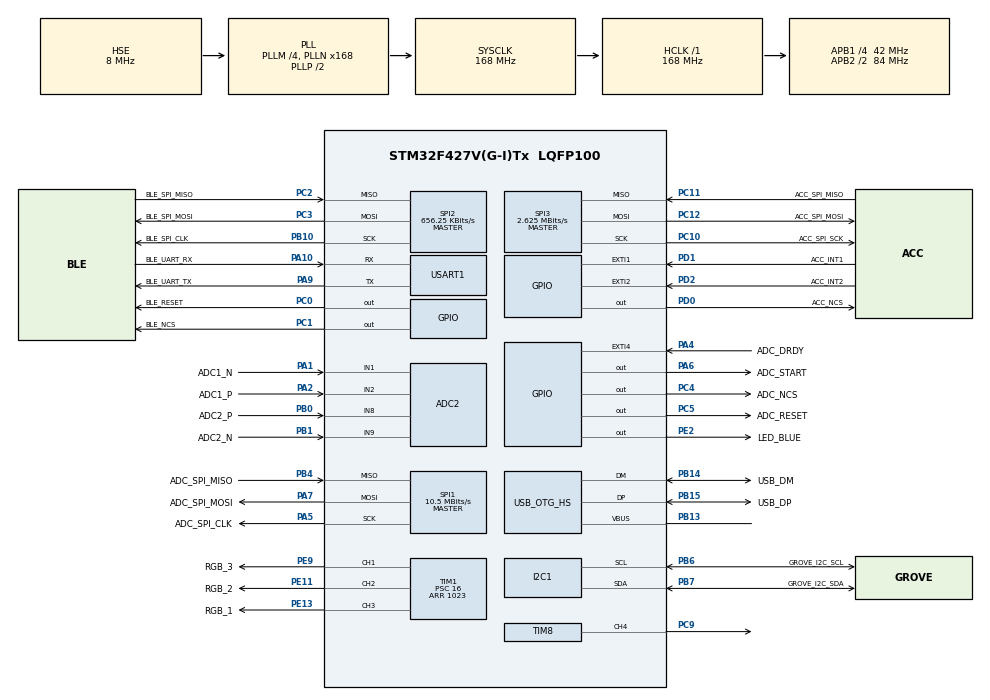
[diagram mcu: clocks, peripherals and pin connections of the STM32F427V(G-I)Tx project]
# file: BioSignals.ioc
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ADC2.Channel-30\#ChannelRegularConversion=ADC_CHANNEL_8
ADC2.NbrOfConversionFlag=1
ADC2.Rank-30\#ChannelRegularConversion=1
ADC2.SamplingTime-30\#ChannelRegularConversion=ADC_SAMPLETIME_3CYCLES
Dma.Request0=SPI1_RX
Dma.Request1=SPI1_TX
Dma.Request2=SPI3_RX
Dma.Request3=SPI3_TX
Dma.Request4=SPI2_TX
Dma.Request5=SPI2_RX
Dma.SPI1_RX.0.Direction=DMA_PERIPH_TO_MEMORY
Dma.SPI1_RX.0.FIFOMode=DMA_FIFOMODE_DISABLE
Dma.SPI1_RX.0.Instance=DMA2_Stream0
Dma.SPI1_RX.0.MemDataAlignment=DMA_MDATAALIGN_BYTE
Dma.SPI1_RX.0.MemInc=DMA_MINC_ENABLE
Dma.SPI1_RX.0.Mode=DMA_NORMAL
Dma.SPI1_RX.0.PeriphDataAlignment=DMA_PDATAALIGN_BYTE
Dma.SPI1_RX.0.PeriphInc=DMA_PINC_DISABLE
Dma.SPI1_RX.0.Priority=DMA_PRIORITY_LOW
Dma.SPI1_TX.1.Direction=DMA_MEMORY_TO_PERIPH
Dma.SPI1_TX.1.FIFOMode=DMA_FIFOMODE_DISABLE
Dma.SPI1_TX.1.Instance=DMA2_Stream3
Dma.SPI1_TX.1.MemDataAlignment=DMA_MDATAALIGN_BYTE
Dma.SPI1_TX.1.MemInc=DMA_MINC_ENABLE
Dma.SPI1_TX.1.Mode=DMA_NORMAL
Dma.SPI1_TX.1.PeriphDataAlignment=DMA_PDATAALIGN_BYTE
Dma.SPI1_TX.1.PeriphInc=DMA_PINC_DISABLE
Dma.SPI1_TX.1.Priority=DMA_PRIORITY_LOW
Dma.SPI2_RX.5.Direction=DMA_PERIPH_TO_MEMORY
Dma.SPI2_RX.5.FIFOMode=DMA_FIFOMODE_DISABLE
Dma.SPI2_RX.5.Instance=DMA1_Stream3
Dma.SPI2_RX.5.MemDataAlignment=DMA_MDATAALIGN_BYTE
Dma.SPI2_RX.5.MemInc=DMA_MINC_ENABLE
Dma.SPI2_RX.5.Mode=DMA_NORMAL
Dma.SPI2_RX.5.PeriphDataAlignment=DMA_PDATAALIGN_BYTE
Dma.SPI2_RX.5.PeriphInc=DMA_PINC_DISABLE
Dma.SPI2_RX.5.Priority=DMA_PRIORITY_LOW
Dma.SPI2_TX.4.Direction=DMA_MEMORY_TO_PERIPH
Dma.SPI2_TX.4.FIFOMode=DMA_FIFOMODE_DISABLE
Dma.SPI2_TX.4.Instance=DMA1_Stream4
Dma.SPI2_TX.4.MemDataAlignment=DMA_MDATAALIGN_BYTE
Dma.SPI2_TX.4.MemInc=DMA_MINC_ENABLE
Dma.SPI2_TX.4.Mode=DMA_NORMAL
Dma.SPI2_TX.4.PeriphDataAlignment=DMA_PDATAALIGN_BYTE
Dma.SPI2_TX.4.PeriphInc=DMA_PINC_DISABLE
Dma.SPI2_TX.4.Priority=DMA_PRIORITY_LOW
Dma.SPI3_RX.2.Direction=DMA_PERIPH_TO_MEMORY
Dma.SPI3_RX.2.FIFOMode=DMA_FIFOMODE_DISABLE
Dma.SPI3_RX.2.Instance=DMA1_Stream0
Dma.SPI3_RX.2.MemDataAlignment=DMA_MDATAALIGN_BYTE
Dma.SPI3_RX.2.MemInc=DMA_MINC_ENABLE
Dma.SPI3_RX.2.Mode=DMA_NORMAL
Dma.SPI3_RX.2.PeriphDataAlignment=DMA_PDATAALIGN_BYTE
Dma.SPI3_RX.2.PeriphInc=DMA_PINC_DISABLE
Dma.SPI3_RX.2.Priority=DMA_PRIORITY_LOW
Dma.SPI3_TX.3.Direction=DMA_MEMORY_TO_PERIPH
Dma.SPI3_TX.3.FIFOMode=DMA_FIFOMODE_DISABLE
Dma.SPI3_TX.3.Instance=DMA1_Stream5
Dma.SPI3_TX.3.MemDataAlignment=DMA_MDATAALIGN_BYTE
Dma.SPI3_TX.3.MemInc=DMA_MINC_ENABLE
Dma.SPI3_TX.3.Mode=DMA_NORMAL
Dma.SPI3_TX.3.PeriphDataAlignment=DMA_PDATAALIGN_BYTE
Dma.SPI3_TX.3.PeriphInc=DMA_PINC_DISABLE
Dma.SPI3_TX.3.Priority=DMA_PRIORITY_LOW
FREERTOS.INCLUDE_vTaskDelayUntil=1
FREERTOS.MEMORY_ALLOCATION=2
FREERTOS.Tasks01=defaultTask,0,128,StartDefaultTask,Default,NULL
FREERTOS.configTOTAL_HEAP_SIZE=4096
FREERTOS.configUSE_IDLE_HOOK=0
FREERTOS.configUSE_MALLOC_FAILED_HOOK=1
FREERTOS.configUSE_PREEMPTION=0
FREERTOS.configUSE_TICK_HOOK=0
Mcu.Family=STM32F4
Mcu.Name=STM32F427V(G-I)Tx
Mcu.Package=LQFP100
NVIC.DMA1_Stream0_IRQn=true\:5\:0\:false\:false\:true\:true\:false\:true\:true
NVIC.DMA1_Stream3_IRQn=true\:5\:0\:false\:false\:true\:true\:false\:true\:true
NVIC.DMA1_Stream4_IRQn=true\:5\:0\:false\:false\:true\:true\:false\:true\:true
NVIC.DMA1_Stream5_IRQn=true\:5\:0\:false\:false\:true\:true\:false\:true\:true
NVIC.DMA2_Stream0_IRQn=true\:5\:0\:false\:false\:true\:true\:false\:true\:true
NVIC.DMA2_Stream3_IRQn=true\:5\:0\:false\:false\:true\:true\:false\:true\:true
NVIC.EXTI1_IRQn=true\:6\:0\:true\:false\:true\:true\:true\:true\:true
NVIC.EXTI4_IRQn=true\:6\:0\:true\:false\:true\:true\:true\:true\:true
NVIC.OTG_HS_IRQn=true\:5\:0\:false\:false\:true\:true\:true\:true\:true
NVIC.PriorityGroup=NVIC_PRIORITYGROUP_4
NVIC.SPI1_IRQn=true\:5\:0\:false\:false\:true\:true\:true\:true\:true
NVIC.SPI3_IRQn=true\:5\:0\:false\:false\:true\:true\:true\:true\:true
NVIC.TIM8_UP_TIM13_IRQn=true\:5\:0\:true\:false\:true\:true\:true\:true\:true
PA1.GPIO_Label=ADC1_N
PA1.Signal=ADCx_IN1
PA10.GPIO_Label=BLE_UART_RX
PA10.Mode=Multiprocessor_communication
PA10.Signal=USART1_RX
PA13.GPIO_Label=SWDIO
PA13.Mode=Trace_Asynchronous_SW
PA13.Signal=SYS_JTMS-SWDIO
PA14.GPIO_Label=SWDCLK
PA14.Mode=Trace_Asynchronous_SW
PA14.Signal=SYS_JTCK-SWCLK
PA2.GPIO_Label=ADC1_P
PA2.Signal=ADCx_IN2
PA4.GPIO_Label=ADC_DRDY
PA4.GPIO_ModeDefaultEXTI=GPIO_MODE_IT_FALLING
PA4.Signal=GPXTI4
PA5.GPIO_Label=ADC_SPI_CLK
PA5.Mode=Full_Duplex_Master
PA5.Signal=SPI1_SCK
PA6.GPIO_Label=ADC_START
PA6.Signal=GPIO_Output
PA7.GPIO_Label=ADC_SPI_MOSI
PA7.Mode=Full_Duplex_Master
PA7.Signal=SPI1_MOSI
PA9.GPIO_Label=BLE_UART_TX
PA9.Mode=Multiprocessor_communication
PA9.Signal=USART1_TX
PB0.GPIO_Label=ADC2_P
PB0.Signal=ADCx_IN8
PB1.GPIO_Label=ADC2_N
PB1.Signal=ADCx_IN9
PB10.GPIO_Label=BLE_SPI_CLK
PB10.Mode=Full_Duplex_Master
PB10.Signal=SPI2_SCK
PB13.Mode=Activate_VBUS_FS
PB13.Signal=USB_OTG_HS_VBUS
PB14.GPIO_Label=USB_DM
PB14.Mode=Device_Only_FS
PB14.Signal=USB_OTG_HS_DM
PB15.GPIO_Label=USB_DP
PB15.Mode=Device_Only_FS
PB15.Signal=USB_OTG_HS_DP
PB3.Mode=Trace_Asynchronous_SW
PB3.Signal=SYS_JTDO-SWO
PB4.GPIO_Label=ADC_SPI_MISO
PB4.Mode=Full_Duplex_Master
PB4.Signal=SPI1_MISO
PB6.GPIO_Label=GROVE_I2C_SCL
PB6.GPIO_Pu=GPIO_PULLUP
PB6.Mode=I2C
PB6.Signal=I2C1_SCL
PB7.GPIO_Label=GROVE_I2C_SDA
PB7.GPIO_Pu=GPIO_PULLUP
PB7.Mode=I2C
PB7.Signal=I2C1_SDA
PC0.GPIO_Label=BLE_RESET
PC0.Signal=GPIO_Output
PC1.GPIO_Label=BLE_NCS
PC1.Signal=GPIO_Output
PC10.GPIO_Label=ACC_SPI_SCK
PC10.Mode=Full_Duplex_Master
PC10.Signal=SPI3_SCK
PC11.GPIO_Label=ACC_SPI_MISO
PC11.Mode=Full_Duplex_Master
PC11.Signal=SPI3_MISO
PC12.GPIO_Label=ACC_SPI_MOSI
PC12.Mode=Full_Duplex_Master
PC12.Signal=SPI3_MOSI
PC2.GPIO_Label=BLE_SPI_MISO
PC2.Mode=Full_Duplex_Master
PC2.Signal=SPI2_MISO
PC3.GPIO_Label=BLE_SPI_MOSI
PC3.Mode=Full_Duplex_Master
PC3.Signal=SPI2_MOSI
PC4.GPIO_Label=ADC_NCS
PC4.Signal=GPIO_Output
PC5.GPIO_Label=ADC_RESET
PC5.Signal=GPIO_Output
PC9.Signal=S_TIM8_CH4
PD0.GPIO_Label=ACC_NCS
PD0.Signal=GPIO_Output
PD1.GPIO_Label=ACC_INT1
PD1.Signal=GPXTI1
PD2.GPIO_Label=ACC_INT2
PD2.Signal=GPXTI2
PE11.GPIO_Label=RGB_2
PE11.Signal=S_TIM1_CH2
PE13.GPIO_Label=RGB_1
PE13.Signal=S_TIM1_CH3
PE2.GPIO_Label=LED_BLUE
PE2.Signal=GPIO_Output
PE9.GPIO_Label=RGB_3
PE9.Signal=S_TIM1_CH1
PH0/OSC_IN.Mode=HSE-External-Oscillator
PH0/OSC_IN.Signal=RCC_OSC_IN
PH1/OSC_OUT.Mode=HSE-External-Oscillator
PH1/OSC_OUT.Signal=RCC_OSC_OUT
ProjectManager.HeapSize=0x200
ProjectManager.StackSize=0x400
ProjectManager.TargetToolchain=Other Toolchains (GPDSC)
RCC.48MHZClocksFreq_Value=48000000
RCC.AHBFreq_Value=168000000
RCC.APB1CLKDivider=RCC_HCLK_DIV4
RCC.APB1Freq_Value=42000000
RCC.APB1TimFreq_Value=84000000
RCC.APB2CLKDivider=RCC_HCLK_DIV2
RCC.APB2Freq_Value=84000000
RCC.APB2TimFreq_Value=168000000
RCC.CortexFreq_Value=168000000
RCC.HCLKFreq_Value=168000000
RCC.HSE_VALUE=8000000
RCC.HSI_VALUE=16000000
RCC.LSE_VALUE=32768
RCC.PLLM=4
RCC.PLLN=168
RCC.PLLQ=7
RCC.PLLSAIN=60
RCC.PLLSAIQ=2
RCC.SYSCLKFreq_VALUE=168000000
RCC.SYSCLKSource=RCC_SYSCLKSOURCE_PLLCLK
RCC.VCOOutputFreq_Value=336000000
SH.ADCx_IN1.0=ADC2_IN1,IN1
SH.ADCx_IN2.0=ADC2_IN2,IN2
SH.ADCx_IN8.0=ADC2_IN8,IN8
SH.ADCx_IN9.0=ADC2_IN9,IN9
SH.S_TIM1_CH1.0=TIM1_CH1,PWM Generation1 CH1
SH.S_TIM1_CH2.0=TIM1_CH2,PWM Generation2 CH2
SH.S_TIM1_CH3.0=TIM1_CH3,PWM Generation3 CH3
SH.S_TIM8_CH4.0=TIM8_CH4,PWM Generation4 CH4
SPI1.BaudRatePrescaler=SPI_BAUDRATEPRESCALER_8
SPI1.CLKPhase=SPI_PHASE_2EDGE
SPI1.CLKPolarity=SPI_POLARITY_LOW
SPI1.CalculateBaudRate=10.5 MBits/s
SPI1.Direction=SPI_DIRECTION_2LINES
SPI1.Mode=SPI_MODE_MASTER
SPI1.VirtualType=VM_MASTER
SPI2.BaudRatePrescaler=SPI_BAUDRATEPRESCALER_64
SPI2.CLKPhase=SPI_PHASE_2EDGE
SPI2.CalculateBaudRate=656.25 KBits/s
SPI2.Direction=SPI_DIRECTION_2LINES
SPI2.Mode=SPI_MODE_MASTER
SPI2.VirtualType=VM_MASTER
SPI3.BaudRatePrescaler=SPI_BAUDRATEPRESCALER_16
SPI3.CLKPhase=SPI_PHASE_2EDGE
SPI3.CLKPolarity=SPI_POLARITY_HIGH
SPI3.CalculateBaudRate=2.625 MBits/s
SPI3.Direction=SPI_DIRECTION_2LINES
SPI3.Mode=SPI_MODE_MASTER
SPI3.VirtualType=VM_MASTER
TIM1.Channel-PWM\ Generation1\ CH1=TIM_CHANNEL_1
TIM1.Channel-PWM\ Generation2\ CH2=TIM_CHANNEL_2
TIM1.Channel-PWM\ Generation3\ CH3=TIM_CHANNEL_3
TIM1.Period=1023
TIM1.Prescaler=16
TIM8.Channel-PWM\ Generation4\ CH4=TIM_CHANNEL_4
TIM8.Period=TIM8_PERIOD
TIM8.Prescaler=3
TIM8.Pulse-PWM\ Generation4\ CH4=TIM8_PERIOD/2
TIM8.TIM_MasterOutputTrigger=TIM_TRGO_UPDATE
USART1.VirtualMode=VM_ASYNC
USB_OTG_HS.VirtualMode-Device_Only_FS=Device_Only_FS
VP_FREERTOS_VS_CMSIS_V1.Mode=CMSIS_V1
VP_RTC_VS_RTC_Activate.Mode=RTC_Enabled
board=custom

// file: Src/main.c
/* USER CODE BEGIN Header */
/**
  ******************************************************************************
  * @file           : main.c
  * @brief          : Main program body
  ******************************************************************************
  ** This notice applies to any and all portions of this file
  * that are not between comment pairs USER CODE BEGIN and
  * USER CODE END. Other portions of this file, whether
  * inserted by the user or by software development tools
  * are owned by their respective copyright owners.
  *
  * COPYRIGHT(c) 2018 STMicroelectronics
  *
  * Redistribution and use in source and binary forms, with or without modification,
  * are permitted provided that the following conditions are met:
  *   1. Redistributions of source code must retain the above copyright notice,
  *      this list of conditions and the following disclaimer.
  *   2. Redistributions in binary form must reproduce the above copyright notice,
  *      this list of conditions and the following disclaimer in the documentation
  *      and/or other materials provided with the distribution.
  *   3. Neither the name of STMicroelectronics nor the names of its contributors
  *      may be used to endorse or promote products derived from this software
  *      without specific prior written permission.
  *
  * THIS SOFTWARE IS PROVIDED BY THE COPYRIGHT HOLDERS AND CONTRIBUTORS "AS IS"
  * AND ANY EXPRESS OR IMPLIED WARRANTIES, INCLUDING, BUT NOT LIMITED TO, THE
  * IMPLIED WARRANTIES OF MERCHANTABILITY AND FITNESS FOR A PARTICULAR PURPOSE ARE
  * DISCLAIMED. IN NO EVENT SHALL THE COPYRIGHT HOLDER OR CONTRIBUTORS BE LIABLE
  * FOR ANY DIRECT, INDIRECT, INCIDENTAL, SPECIAL, EXEMPLARY, OR CONSEQUENTIAL
  * DAMAGES (INCLUDING, BUT NOT LIMITED TO, PROCUREMENT OF SUBSTITUTE GOODS OR
  * SERVICES; LOSS OF USE, DATA, OR PROFITS; OR BUSINESS INTERRUPTION) HOWEVER
  * CAUSED AND ON ANY THEORY OF LIABILITY, WHETHER IN CONTRACT, STRICT LIABILITY,
  * OR TORT (INCLUDING NEGLIGENCE OR OTHERWISE) ARISING IN ANY WAY OUT OF THE USE
  * OF THIS SOFTWARE, EVEN IF ADVISED OF THE POSSIBILITY OF SUCH DAMAGE.
  *
  ******************************************************************************
  */
/* USER CODE END Header */
#include "main.h"
#include "cmsis_os.h"

/* USER CODE BEGIN Includes */
#ifdef DEBUG
#include <stdio.h>
#endif

/* USER CODE END Includes */

 ADC_HandleTypeDef hadc2;

I2C_HandleTypeDef hi2c1;

RTC_HandleTypeDef hrtc;

SPI_HandleTypeDef hspi1;
SPI_HandleTypeDef hspi2;
SPI_HandleTypeDef hspi3;
DMA_HandleTypeDef hdma_spi1_rx;
DMA_HandleTypeDef hdma_spi1_tx;
DMA_HandleTypeDef hdma_spi2_tx;
DMA_HandleTypeDef hdma_spi2_rx;
DMA_HandleTypeDef hdma_spi3_rx;
DMA_HandleTypeDef hdma_spi3_tx;

TIM_HandleTypeDef htim1;
TIM_HandleTypeDef htim8;

UART_HandleTypeDef huart1;

PCD_HandleTypeDef hpcd_USB_OTG_HS;

osThreadId defaultTaskHandle;
/* USER CODE BEGIN PV */
/* Private variables ---------------------------------------------------------*/

/* USER CODE END PV */

void SystemClock_Config(void);
static void MX_GPIO_Init(void);
static void MX_DMA_Init(void);
static void MX_ADC2_Init(void);
static void MX_I2C1_Init(void);
static void MX_SPI1_Init(void);
static void MX_SPI2_Init(void);
static void MX_SPI3_Init(void);
static void MX_TIM1_Init(void);
static void MX_USART1_UART_Init(void);
static void MX_TIM8_Init(void);
static void MX_RTC_Init(void);
static void MX_USB_OTG_HS_PCD_Init(void);
void StartDefaultTask(void const * argument);

/* USER CODE BEGIN PFP */
/* Private function prototypes -----------------------------------------------*/

void setup();
void loop(void);
void initialise_monitor_handles(void);

/* USER CODE END PFP */

int main(void)
{
  /* USER CODE BEGIN 1 */
#ifdef DEBUG
#warning "DEBUG uses printf and semihosting!"
  if(CoreDebug->DHCSR & 0x01)
    initialise_monitor_handles(); // remove when not semi-hosting
  printf("showtime\n");
#endif
  /* USER CODE END 1 */

  /* MCU Configuration--------------------------------------------------------*/

  /* Reset of all peripherals, Initializes the Flash interface and the Systick. */
  HAL_Init();

  /* Configure the system clock */
  SystemClock_Config();

  /* Initialize all configured peripherals */
  MX_GPIO_Init();
  MX_DMA_Init();
  MX_ADC2_Init();
  MX_I2C1_Init();
  MX_SPI1_Init();
  MX_SPI2_Init();
  MX_SPI3_Init();
  MX_TIM1_Init();
  MX_USART1_UART_Init();
  MX_TIM8_Init();
  MX_RTC_Init();
  MX_USB_OTG_HS_PCD_Init();

  /* Create the thread(s) */
  /* definition and creation of defaultTask */
  osThreadDef(defaultTask, StartDefaultTask, osPriorityNormal, 0, 128);
  defaultTaskHandle = osThreadCreate(osThread(defaultTask), NULL);

  /* Start scheduler */
  osKernelStart();

  /* We should never get here as control is now taken by the scheduler */
  /* Infinite loop */
  while (1)
  {

  }
}

void SystemClock_Config(void)
{
  RCC_OscInitTypeDef RCC_OscInitStruct = {0};
  RCC_ClkInitTypeDef RCC_ClkInitStruct = {0};

  /** Configure the main internal regulator output voltage
  */
  __HAL_RCC_PWR_CLK_ENABLE();
  __HAL_PWR_VOLTAGESCALING_CONFIG(PWR_REGULATOR_VOLTAGE_SCALE1);

  /** Initializes the RCC Oscillators according to the specified parameters
  * in the RCC_OscInitTypeDef structure.
  */
  RCC_OscInitStruct.OscillatorType = RCC_OSCILLATORTYPE_LSI|RCC_OSCILLATORTYPE_HSE;
  RCC_OscInitStruct.HSEState = RCC_HSE_ON;
  RCC_OscInitStruct.LSIState = RCC_LSI_ON;
  RCC_OscInitStruct.PLL.PLLState = RCC_PLL_ON;
  RCC_OscInitStruct.PLL.PLLSource = RCC_PLLSOURCE_HSE;
  RCC_OscInitStruct.PLL.PLLM = 4;
  RCC_OscInitStruct.PLL.PLLN = 168;
  RCC_OscInitStruct.PLL.PLLP = RCC_PLLP_DIV2;
  RCC_OscInitStruct.PLL.PLLQ = 7;
  if (HAL_RCC_OscConfig(&RCC_OscInitStruct) != HAL_OK)
  {
    Error_Handler();
  }

  /** Initializes the CPU, AHB and APB buses clocks
  */
  RCC_ClkInitStruct.ClockType = RCC_CLOCKTYPE_HCLK|RCC_CLOCKTYPE_SYSCLK
                              |RCC_CLOCKTYPE_PCLK1|RCC_CLOCKTYPE_PCLK2;
  RCC_ClkInitStruct.SYSCLKSource = RCC_SYSCLKSOURCE_PLLCLK;
  RCC_ClkInitStruct.AHBCLKDivider = RCC_SYSCLK_DIV1;
  RCC_ClkInitStruct.APB1CLKDivider = RCC_HCLK_DIV4;
  RCC_ClkInitStruct.APB2CLKDivider = RCC_HCLK_DIV2;

  if (HAL_RCC_ClockConfig(&RCC_ClkInitStruct, FLASH_LATENCY_5) != HAL_OK)
  {
    Error_Handler();
  }
}

static void MX_ADC2_Init(void)
{

  ADC_ChannelConfTypeDef sConfig = {0};

  /** Configure the global features of the ADC (Clock, Resolution, Data Alignment and number of conversion)
  */
  hadc2.Instance = ADC2;
  hadc2.Init.ClockPrescaler = ADC_CLOCK_SYNC_PCLK_DIV4;
  hadc2.Init.Resolution = ADC_RESOLUTION_12B;
  hadc2.Init.ScanConvMode = DISABLE;
  hadc2.Init.ContinuousConvMode = DISABLE;
  hadc2.Init.DiscontinuousConvMode = DISABLE;
  hadc2.Init.ExternalTrigConvEdge = ADC_EXTERNALTRIGCONVEDGE_NONE;
  hadc2.Init.ExternalTrigConv = ADC_SOFTWARE_START;
  hadc2.Init.DataAlign = ADC_DATAALIGN_RIGHT;
  hadc2.Init.NbrOfConversion = 1;
  hadc2.Init.DMAContinuousRequests = DISABLE;
  hadc2.Init.EOCSelection = ADC_EOC_SINGLE_CONV;
  if (HAL_ADC_Init(&hadc2) != HAL_OK)
  {
    Error_Handler();
  }

  /** Configure for the selected ADC regular channel its corresponding rank in the sequencer and its sample time.
  */
  sConfig.Channel = ADC_CHANNEL_8;
  sConfig.Rank = 1;
  sConfig.SamplingTime = ADC_SAMPLETIME_3CYCLES;
  if (HAL_ADC_ConfigChannel(&hadc2, &sConfig) != HAL_OK)
  {
    Error_Handler();
  }

}

static void MX_I2C1_Init(void)
{

  hi2c1.Instance = I2C1;
  hi2c1.Init.ClockSpeed = 100000;
  hi2c1.Init.DutyCycle = I2C_DUTYCYCLE_2;
  hi2c1.Init.OwnAddress1 = 0;
  hi2c1.Init.AddressingMode = I2C_ADDRESSINGMODE_7BIT;
  hi2c1.Init.DualAddressMode = I2C_DUALADDRESS_DISABLE;
  hi2c1.Init.OwnAddress2 = 0;
  hi2c1.Init.GeneralCallMode = I2C_GENERALCALL_DISABLE;
  hi2c1.Init.NoStretchMode = I2C_NOSTRETCH_DISABLE;
  if (HAL_I2C_Init(&hi2c1) != HAL_OK)
  {
    Error_Handler();
  }

  /** Configure Analogue filter
  */
  if (HAL_I2CEx_ConfigAnalogFilter(&hi2c1, I2C_ANALOGFILTER_ENABLE) != HAL_OK)
  {
    Error_Handler();
  }

  /** Configure Digital filter
  */
  if (HAL_I2CEx_ConfigDigitalFilter(&hi2c1, 0) != HAL_OK)
  {
    Error_Handler();
  }

}

static void MX_RTC_Init(void)
{

  /** Initialize RTC Only
  */
  hrtc.Instance = RTC;
  hrtc.Init.HourFormat = RTC_HOURFORMAT_24;
  hrtc.Init.AsynchPrediv = 127;
  hrtc.Init.SynchPrediv = 255;
  hrtc.Init.OutPut = RTC_OUTPUT_DISABLE;
  hrtc.Init.OutPutPolarity = RTC_OUTPUT_POLARITY_HIGH;
  hrtc.Init.OutPutType = RTC_OUTPUT_TYPE_OPENDRAIN;
  if (HAL_RTC_Init(&hrtc) != HAL_OK)
  {
    Error_Handler();
  }

}

static void MX_SPI1_Init(void)
{

  /* SPI1 parameter configuration*/
  hspi1.Instance = SPI1;
  hspi1.Init.Mode = SPI_MODE_MASTER;
  hspi1.Init.Direction = SPI_DIRECTION_2LINES;
  hspi1.Init.DataSize = SPI_DATASIZE_8BIT;
  hspi1.Init.CLKPolarity = SPI_POLARITY_LOW;
  hspi1.Init.CLKPhase = SPI_PHASE_2EDGE;
  hspi1.Init.NSS = SPI_NSS_SOFT;
  hspi1.Init.BaudRatePrescaler = SPI_BAUDRATEPRESCALER_8;
  hspi1.Init.FirstBit = SPI_FIRSTBIT_MSB;
  hspi1.Init.TIMode = SPI_TIMODE_DISABLE;
  hspi1.Init.CRCCalculation = SPI_CRCCALCULATION_DISABLE;
  hspi1.Init.CRCPolynomial = 10;
  if (HAL_SPI_Init(&hspi1) != HAL_OK)
  {
    Error_Handler();
  }

}

static void MX_SPI2_Init(void)
{

  /* SPI2 parameter configuration*/
  hspi2.Instance = SPI2;
  hspi2.Init.Mode = SPI_MODE_MASTER;
  hspi2.Init.Direction = SPI_DIRECTION_2LINES;
  hspi2.Init.DataSize = SPI_DATASIZE_8BIT;
  hspi2.Init.CLKPolarity = SPI_POLARITY_LOW;
  hspi2.Init.CLKPhase = SPI_PHASE_2EDGE;
  hspi2.Init.NSS = SPI_NSS_SOFT;
  hspi2.Init.BaudRatePrescaler = SPI_BAUDRATEPRESCALER_64;
  hspi2.Init.FirstBit = SPI_FIRSTBIT_MSB;
  hspi2.Init.TIMode = SPI_TIMODE_DISABLE;
  hspi2.Init.CRCCalculation = SPI_CRCCALCULATION_DISABLE;
  hspi2.Init.CRCPolynomial = 10;
  if (HAL_SPI_Init(&hspi2) != HAL_OK)
  {
    Error_Handler();
  }

}

static void MX_SPI3_Init(void)
{

  /* SPI3 parameter configuration*/
  hspi3.Instance = SPI3;
  hspi3.Init.Mode = SPI_MODE_MASTER;
  hspi3.Init.Direction = SPI_DIRECTION_2LINES;
  hspi3.Init.DataSize = SPI_DATASIZE_8BIT;
  hspi3.Init.CLKPolarity = SPI_POLARITY_HIGH;
  hspi3.Init.CLKPhase = SPI_PHASE_2EDGE;
  hspi3.Init.NSS = SPI_NSS_SOFT;
  hspi3.Init.BaudRatePrescaler = SPI_BAUDRATEPRESCALER_16;
  hspi3.Init.FirstBit = SPI_FIRSTBIT_MSB;
  hspi3.Init.TIMode = SPI_TIMODE_DISABLE;
  hspi3.Init.CRCCalculation = SPI_CRCCALCULATION_DISABLE;
  hspi3.Init.CRCPolynomial = 10;
  if (HAL_SPI_Init(&hspi3) != HAL_OK)
  {
    Error_Handler();
  }

}

static void MX_TIM1_Init(void)
{

  TIM_MasterConfigTypeDef sMasterConfig = {0};
  TIM_OC_InitTypeDef sConfigOC = {0};
  TIM_BreakDeadTimeConfigTypeDef sBreakDeadTimeConfig = {0};

  htim1.Instance = TIM1;
  htim1.Init.Prescaler = 16;
  htim1.Init.CounterMode = TIM_COUNTERMODE_UP;
  htim1.Init.Period = 1023;
  htim1.Init.ClockDivision = TIM_CLOCKDIVISION_DIV1;
  htim1.Init.RepetitionCounter = 0;
  htim1.Init.AutoReloadPreload = TIM_AUTORELOAD_PRELOAD_DISABLE;
  if (HAL_TIM_PWM_Init(&htim1) != HAL_OK)
  {
    Error_Handler();
  }
  sMasterConfig.MasterOutputTrigger = TIM_TRGO_RESET;
  sMasterConfig.MasterSlaveMode = TIM_MASTERSLAVEMODE_DISABLE;
  if (HAL_TIMEx_MasterConfigSynchronization(&htim1, &sMasterConfig) != HAL_OK)
  {
    Error_Handler();
  }
  sConfigOC.OCMode = TIM_OCMODE_PWM1;
  sConfigOC.Pulse = 0;
  sConfigOC.OCPolarity = TIM_OCPOLARITY_HIGH;
  sConfigOC.OCNPolarity = TIM_OCNPOLARITY_HIGH;
  sConfigOC.OCFastMode = TIM_OCFAST_DISABLE;
  sConfigOC.OCIdleState = TIM_OCIDLESTATE_RESET;
  sConfigOC.OCNIdleState = TIM_OCNIDLESTATE_RESET;
  if (HAL_TIM_PWM_ConfigChannel(&htim1, &sConfigOC, TIM_CHANNEL_1) != HAL_OK)
  {
    Error_Handler();
  }
  if (HAL_TIM_PWM_ConfigChannel(&htim1, &sConfigOC, TIM_CHANNEL_2) != HAL_OK)
  {
    Error_Handler();
  }
  if (HAL_TIM_PWM_ConfigChannel(&htim1, &sConfigOC, TIM_CHANNEL_3) != HAL_OK)
  {
    Error_Handler();
  }
  sBreakDeadTimeConfig.OffStateRunMode = TIM_OSSR_DISABLE;
  sBreakDeadTimeConfig.OffStateIDLEMode = TIM_OSSI_DISABLE;
  sBreakDeadTimeConfig.LockLevel = TIM_LOCKLEVEL_OFF;
  sBreakDeadTimeConfig.DeadTime = 0;
  sBreakDeadTimeConfig.BreakState = TIM_BREAK_DISABLE;
  sBreakDeadTimeConfig.BreakPolarity = TIM_BREAKPOLARITY_HIGH;
  sBreakDeadTimeConfig.AutomaticOutput = TIM_AUTOMATICOUTPUT_DISABLE;
  if (HAL_TIMEx_ConfigBreakDeadTime(&htim1, &sBreakDeadTimeConfig) != HAL_OK)
  {
    Error_Handler();
  }
  HAL_TIM_MspPostInit(&htim1);

}

static void MX_TIM8_Init(void)
{

  TIM_MasterConfigTypeDef sMasterConfig = {0};
  TIM_OC_InitTypeDef sConfigOC = {0};
  TIM_BreakDeadTimeConfigTypeDef sBreakDeadTimeConfig = {0};

  htim8.Instance = TIM8;
  htim8.Init.Prescaler = 3;
  htim8.Init.CounterMode = TIM_COUNTERMODE_UP;
  htim8.Init.Period = TIM8_PERIOD;
  htim8.Init.ClockDivision = TIM_CLOCKDIVISION_DIV1;
  htim8.Init.RepetitionCounter = 0;
  htim8.Init.AutoReloadPreload = TIM_AUTORELOAD_PRELOAD_DISABLE;
  if (HAL_TIM_PWM_Init(&htim8) != HAL_OK)
  {
    Error_Handler();
  }
  sMasterConfig.MasterOutputTrigger = TIM_TRGO_UPDATE;
  sMasterConfig.MasterSlaveMode = TIM_MASTERSLAVEMODE_DISABLE;
  if (HAL_TIMEx_MasterConfigSynchronization(&htim8, &sMasterConfig) != HAL_OK)
  {
    Error_Handler();
  }
  sConfigOC.OCMode = TIM_OCMODE_PWM1;
  sConfigOC.Pulse = TIM8_PERIOD/2;
  sConfigOC.OCPolarity = TIM_OCPOLARITY_HIGH;
  sConfigOC.OCFastMode = TIM_OCFAST_DISABLE;
  sConfigOC.OCIdleState = TIM_OCIDLESTATE_RESET;
  sConfigOC.OCNIdleState = TIM_OCNIDLESTATE_RESET;
  if (HAL_TIM_PWM_ConfigChannel(&htim8, &sConfigOC, TIM_CHANNEL_4) != HAL_OK)
  {
    Error_Handler();
  }
  sBreakDeadTimeConfig.OffStateRunMode = TIM_OSSR_DISABLE;
  sBreakDeadTimeConfig.OffStateIDLEMode = TIM_OSSI_DISABLE;
  sBreakDeadTimeConfig.LockLevel = TIM_LOCKLEVEL_OFF;
  sBreakDeadTimeConfig.DeadTime = 0;
  sBreakDeadTimeConfig.BreakState = TIM_BREAK_DISABLE;
  sBreakDeadTimeConfig.BreakPolarity = TIM_BREAKPOLARITY_HIGH;
  sBreakDeadTimeConfig.AutomaticOutput = TIM_AUTOMATICOUTPUT_DISABLE;
  if (HAL_TIMEx_ConfigBreakDeadTime(&htim8, &sBreakDeadTimeConfig) != HAL_OK)
  {
    Error_Handler();
  }
  HAL_TIM_MspPostInit(&htim8);

}

static void MX_USART1_UART_Init(void)
{

  huart1.Instance = USART1;
  huart1.Init.BaudRate = 115200;
  huart1.Init.WordLength = UART_WORDLENGTH_8B;
  huart1.Init.StopBits = UART_STOPBITS_1;
  huart1.Init.Parity = UART_PARITY_NONE;
  huart1.Init.Mode = UART_MODE_TX_RX;
  huart1.Init.HwFlowCtl = UART_HWCONTROL_NONE;
  huart1.Init.OverSampling = UART_OVERSAMPLING_16;
  if (HAL_MultiProcessor_Init(&huart1, 0, UART_WAKEUPMETHOD_IDLELINE) != HAL_OK)
  {
    Error_Handler();
  }

}

static void MX_USB_OTG_HS_PCD_Init(void)
{

  hpcd_USB_OTG_HS.Instance = USB_OTG_HS;
  hpcd_USB_OTG_HS.Init.dev_endpoints = 6;
  hpcd_USB_OTG_HS.Init.speed = PCD_SPEED_FULL;
  hpcd_USB_OTG_HS.Init.dma_enable = DISABLE;
  hpcd_USB_OTG_HS.Init.phy_itface = USB_OTG_EMBEDDED_PHY;
  hpcd_USB_OTG_HS.Init.Sof_enable = DISABLE;
  hpcd_USB_OTG_HS.Init.low_power_enable = DISABLE;
  hpcd_USB_OTG_HS.Init.lpm_enable = DISABLE;
  hpcd_USB_OTG_HS.Init.vbus_sensing_enable = ENABLE;
  hpcd_USB_OTG_HS.Init.use_dedicated_ep1 = DISABLE;
  hpcd_USB_OTG_HS.Init.use_external_vbus = DISABLE;
  if (HAL_PCD_Init(&hpcd_USB_OTG_HS) != HAL_OK)
  {
    Error_Handler();
  }

}

static void MX_DMA_Init(void)
{

  /* DMA controller clock enable */
  __HAL_RCC_DMA2_CLK_ENABLE();
  __HAL_RCC_DMA1_CLK_ENABLE();

  /* DMA interrupt init */
  /* DMA1_Stream0_IRQn interrupt configuration */
  HAL_NVIC_SetPriority(DMA1_Stream0_IRQn, 5, 0);
  HAL_NVIC_EnableIRQ(DMA1_Stream0_IRQn);
  /* DMA1_Stream3_IRQn interrupt configuration */
  HAL_NVIC_SetPriority(DMA1_Stream3_IRQn, 5, 0);
  HAL_NVIC_EnableIRQ(DMA1_Stream3_IRQn);
  /* DMA1_Stream4_IRQn interrupt configuration */
  HAL_NVIC_SetPriority(DMA1_Stream4_IRQn, 5, 0);
  HAL_NVIC_EnableIRQ(DMA1_Stream4_IRQn);
  /* DMA1_Stream5_IRQn interrupt configuration */
  HAL_NVIC_SetPriority(DMA1_Stream5_IRQn, 5, 0);
  HAL_NVIC_EnableIRQ(DMA1_Stream5_IRQn);
  /* DMA2_Stream0_IRQn interrupt configuration */
  HAL_NVIC_SetPriority(DMA2_Stream0_IRQn, 5, 0);
  HAL_NVIC_EnableIRQ(DMA2_Stream0_IRQn);
  /* DMA2_Stream3_IRQn interrupt configuration */
  HAL_NVIC_SetPriority(DMA2_Stream3_IRQn, 5, 0);
  HAL_NVIC_EnableIRQ(DMA2_Stream3_IRQn);

}

static void MX_GPIO_Init(void)
{
  GPIO_InitTypeDef GPIO_InitStruct = {0};

  /* GPIO Ports Clock Enable */
  __HAL_RCC_GPIOE_CLK_ENABLE();
  __HAL_RCC_GPIOC_CLK_ENABLE();
  __HAL_RCC_GPIOH_CLK_ENABLE();
  __HAL_RCC_GPIOA_CLK_ENABLE();
  __HAL_RCC_GPIOB_CLK_ENABLE();
  __HAL_RCC_GPIOD_CLK_ENABLE();

  /*Configure GPIO pin Output Level */
  HAL_GPIO_WritePin(LED_BLUE_GPIO_Port, LED_BLUE_Pin, GPIO_PIN_RESET);

  /*Configure GPIO pin Output Level */
  HAL_GPIO_WritePin(GPIOC, BLE_RESET_Pin|BLE_NCS_Pin|ADC_NCS_Pin|ADC_RESET_Pin, GPIO_PIN_RESET);

  /*Configure GPIO pin Output Level */
  HAL_GPIO_WritePin(ADC_START_GPIO_Port, ADC_START_Pin, GPIO_PIN_RESET);

  /*Configure GPIO pin Output Level */
  HAL_GPIO_WritePin(ACC_NCS_GPIO_Port, ACC_NCS_Pin, GPIO_PIN_RESET);

  /*Configure GPIO pin : LED_BLUE_Pin */
  GPIO_InitStruct.Pin = LED_BLUE_Pin;
  GPIO_InitStruct.Mode = GPIO_MODE_OUTPUT_PP;
  GPIO_InitStruct.Pull = GPIO_NOPULL;
  GPIO_InitStruct.Speed = GPIO_SPEED_FREQ_LOW;
  HAL_GPIO_Init(LED_BLUE_GPIO_Port, &GPIO_InitStruct);

  /*Configure GPIO pins : PE3 PE4 PE5 PE6
                           PE7 PE8 PE10 PE12
                           PE14 PE15 PE0 PE1 */
  GPIO_InitStruct.Pin = GPIO_PIN_3|GPIO_PIN_4|GPIO_PIN_5|GPIO_PIN_6
                          |GPIO_PIN_7|GPIO_PIN_8|GPIO_PIN_10|GPIO_PIN_12
                          |GPIO_PIN_14|GPIO_PIN_15|GPIO_PIN_0|GPIO_PIN_1;
  GPIO_InitStruct.Mode = GPIO_MODE_ANALOG;
  GPIO_InitStruct.Pull = GPIO_NOPULL;
  HAL_GPIO_Init(GPIOE, &GPIO_InitStruct);

  /*Configure GPIO pins : PC13 PC14 PC15 PC6
                           PC7 PC8 */
  GPIO_InitStruct.Pin = GPIO_PIN_13|GPIO_PIN_14|GPIO_PIN_15|GPIO_PIN_6
                          |GPIO_PIN_7|GPIO_PIN_8;
  GPIO_InitStruct.Mode = GPIO_MODE_ANALOG;
  GPIO_InitStruct.Pull = GPIO_NOPULL;
  HAL_GPIO_Init(GPIOC, &GPIO_InitStruct);

  /*Configure GPIO pins : BLE_RESET_Pin BLE_NCS_Pin ADC_NCS_Pin ADC_RESET_Pin */
  GPIO_InitStruct.Pin = BLE_RESET_Pin|BLE_NCS_Pin|ADC_NCS_Pin|ADC_RESET_Pin;
  GPIO_InitStruct.Mode = GPIO_MODE_OUTPUT_PP;
  GPIO_InitStruct.Pull = GPIO_NOPULL;
  GPIO_InitStruct.Speed = GPIO_SPEED_FREQ_LOW;
  HAL_GPIO_Init(GPIOC, &GPIO_InitStruct);

  /*Configure GPIO pins : PA0 PA3 PA8 PA11
                           PA12 PA15 */
  GPIO_InitStruct.Pin = GPIO_PIN_0|GPIO_PIN_3|GPIO_PIN_8|GPIO_PIN_11
                          |GPIO_PIN_12|GPIO_PIN_15;
  GPIO_InitStruct.Mode = GPIO_MODE_ANALOG;
  GPIO_InitStruct.Pull = GPIO_NOPULL;
  HAL_GPIO_Init(GPIOA, &GPIO_InitStruct);

  /*Configure GPIO pin : ADC_DRDY_Pin */
  GPIO_InitStruct.Pin = ADC_DRDY_Pin;
  GPIO_InitStruct.Mode = GPIO_MODE_IT_FALLING;
  GPIO_InitStruct.Pull = GPIO_NOPULL;
  HAL_GPIO_Init(ADC_DRDY_GPIO_Port, &GPIO_InitStruct);

  /*Configure GPIO pin : ADC_START_Pin */
  GPIO_InitStruct.Pin = ADC_START_Pin;
  GPIO_InitStruct.Mode = GPIO_MODE_OUTPUT_PP;
  GPIO_InitStruct.Pull = GPIO_NOPULL;
  GPIO_InitStruct.Speed = GPIO_SPEED_FREQ_LOW;
  HAL_GPIO_Init(ADC_START_GPIO_Port, &GPIO_InitStruct);

  /*Configure GPIO pins : PB2 PB11 PB12 PB5
                           PB8 PB9 */
  GPIO_InitStruct.Pin = GPIO_PIN_2|GPIO_PIN_11|GPIO_PIN_12|GPIO_PIN_5
                          |GPIO_PIN_8|GPIO_PIN_9;
  GPIO_InitStruct.Mode = GPIO_MODE_ANALOG;
  GPIO_InitStruct.Pull = GPIO_NOPULL;
  HAL_GPIO_Init(GPIOB, &GPIO_InitStruct);

  /*Configure GPIO pins : PD8 PD9 PD10 PD11
                           PD12 PD13 PD14 PD15
                           PD3 PD4 PD5 PD6
                           PD7 */
  GPIO_InitStruct.Pin = GPIO_PIN_8|GPIO_PIN_9|GPIO_PIN_10|GPIO_PIN_11
                          |GPIO_PIN_12|GPIO_PIN_13|GPIO_PIN_14|GPIO_PIN_15
                          |GPIO_PIN_3|GPIO_PIN_4|GPIO_PIN_5|GPIO_PIN_6
                          |GPIO_PIN_7;
  GPIO_InitStruct.Mode = GPIO_MODE_ANALOG;
  GPIO_InitStruct.Pull = GPIO_NOPULL;
  HAL_GPIO_Init(GPIOD, &GPIO_InitStruct);

  /*Configure GPIO pin : ACC_NCS_Pin */
  GPIO_InitStruct.Pin = ACC_NCS_Pin;
  GPIO_InitStruct.Mode = GPIO_MODE_OUTPUT_PP;
  GPIO_InitStruct.Pull = GPIO_NOPULL;
  GPIO_InitStruct.Speed = GPIO_SPEED_FREQ_LOW;
  HAL_GPIO_Init(ACC_NCS_GPIO_Port, &GPIO_InitStruct);

  /*Configure GPIO pins : ACC_INT1_Pin ACC_INT2_Pin */
  GPIO_InitStruct.Pin = ACC_INT1_Pin|ACC_INT2_Pin;
  GPIO_InitStruct.Mode = GPIO_MODE_IT_RISING;
  GPIO_InitStruct.Pull = GPIO_NOPULL;
  HAL_GPIO_Init(GPIOD, &GPIO_InitStruct);

  /* EXTI interrupt init*/
  HAL_NVIC_SetPriority(EXTI1_IRQn, 6, 0);
  HAL_NVIC_EnableIRQ(EXTI1_IRQn);

  HAL_NVIC_SetPriority(EXTI4_IRQn, 6, 0);
  HAL_NVIC_EnableIRQ(EXTI4_IRQn);

}

void StartDefaultTask(void const * argument)
{
  /* USER CODE BEGIN 5 */
  setup();
  /* Infinite loop */
  for(;;)
  {
    loop();
  }
  /* USER CODE END 5 */
}

void Error_Handler(void)
{
  /* USER CODE BEGIN Error_Handler_Debug */
  /* User can add his own implementation to report the HAL error return state */
#ifdef DEBUG
  __asm__("BKPT");
#else
  NVIC_SystemReset();
#endif
  /* USER CODE END Error_Handler_Debug */
}

#ifdef  USE_FULL_ASSERT
/**
  * @brief  Reports the name of the source file and the source line number
  *         where the assert_param error has occurred.
  * @param  file: pointer to the source file name
  * @param  line: assert_param error line source number
  * @retval None
  */
void assert_failed(uint8_t *file, uint32_t line)
{
  /* USER CODE BEGIN 6 */
  /* User can add his own implementation to report the file name and line number,
    ex: printf("Wrong parameters value: file %s on line %d\r\n", file, line) */
#ifdef DEBUG
  __asm__("BKPT");
#else
  NVIC_SystemReset();
#endif
  /* USER CODE END 6 */
}
#endif /* USE_FULL_ASSERT */

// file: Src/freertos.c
/* USER CODE BEGIN Header */
/**
  ******************************************************************************
  * File Name          : freertos.c
  * Description        : Code for freertos applications
  ******************************************************************************
  * This notice applies to any and all portions of this file
  * that are not between comment pairs USER CODE BEGIN and
  * USER CODE END. Other portions of this file, whether
  * inserted by the user or by software development tools
  * are owned by their respective copyright owners.
  *
  * Copyright (c) 2019 STMicroelectronics International N.V.
  * All rights reserved.
  *
  * Redistribution and use in source and binary forms, with or without
  * modification, are permitted, provided that the following conditions are met:
  *
  * 1. Redistribution of source code must retain the above copyright notice,
  *    this list of conditions and the following disclaimer.
  * 2. Redistributions in binary form must reproduce the above copyright notice,
  *    this list of conditions and the following disclaimer in the documentation
  *    and/or other materials provided with the distribution.
  * 3. Neither the name of STMicroelectronics nor the names of other
  *    contributors to this software may be used to endorse or promote products
  *    derived from this software without specific written permission.
  * 4. This software, including modifications and/or derivative works of this
  *    software, must execute solely and exclusively on microcontroller or
  *    microprocessor devices manufactured by or for STMicroelectronics.
  * 5. Redistribution and use of this software other than as permitted under
  *    this license is void and will automatically terminate your rights under
  *    this license.
  *
  * THIS SOFTWARE IS PROVIDED BY STMICROELECTRONICS AND CONTRIBUTORS "AS IS"
  * AND ANY EXPRESS, IMPLIED OR STATUTORY WARRANTIES, INCLUDING, BUT NOT
  * LIMITED TO, THE IMPLIED WARRANTIES OF MERCHANTABILITY, FITNESS FOR A
  * PARTICULAR PURPOSE AND NON-INFRINGEMENT OF THIRD PARTY INTELLECTUAL PROPERTY
  * RIGHTS ARE DISCLAIMED TO THE FULLEST EXTENT PERMITTED BY LAW. IN NO EVENT
  * SHALL STMICROELECTRONICS OR CONTRIBUTORS BE LIABLE FOR ANY DIRECT, INDIRECT,
  * INCIDENTAL, SPECIAL, EXEMPLARY, OR CONSEQUENTIAL DAMAGES (INCLUDING, BUT NOT
  * LIMITED TO, PROCUREMENT OF SUBSTITUTE GOODS OR SERVICES; LOSS OF USE, DATA,
  * OR PROFITS; OR BUSINESS INTERRUPTION) HOWEVER CAUSED AND ON ANY THEORY OF
  * LIABILITY, WHETHER IN CONTRACT, STRICT LIABILITY, OR TORT (INCLUDING
  * NEGLIGENCE OR OTHERWISE) ARISING IN ANY WAY OUT OF THE USE OF THIS SOFTWARE,
  * EVEN IF ADVISED OF THE POSSIBILITY OF SUCH DAMAGE.
  *
  ******************************************************************************
  */
/* USER CODE END Header */

#include "FreeRTOS.h"
#include "task.h"
#include "main.h"

/* GetIdleTaskMemory prototype (linked to static allocation support) */
void vApplicationGetIdleTaskMemory( StaticTask_t **ppxIdleTaskTCBBuffer, StackType_t **ppxIdleTaskStackBuffer, uint32_t *pulIdleTaskStackSize );

/* Hook prototypes */
void vApplicationIdleHook(void);
void vApplicationTickHook(void);
void vApplicationMallocFailedHook(void);

/* USER CODE BEGIN 2 */
__weak void vApplicationIdleHook( void )
{
   /* vApplicationIdleHook() will only be called if configUSE_IDLE_HOOK is set
   to 1 in FreeRTOSConfig.h. It will be called on each iteration of the idle
   task. It is essential that code added to this hook function never attempts
   to block in any way (for example, call xQueueReceive() with a block time
   specified, or call vTaskDelay()). If the application makes use of the
   vTaskDelete() API function (as this demo application does) then it is also
   important that vApplicationIdleHook() is permitted to return to its calling
   function, because it is the responsibility of the idle task to clean up
   memory allocated by the kernel to any task that has since been deleted. */
}
/* USER CODE END 2 */

/* USER CODE BEGIN 3 */
__weak void vApplicationTickHook( void )
{
   /* This function will be called by each tick interrupt if
   configUSE_TICK_HOOK is set to 1 in FreeRTOSConfig.h. User code can be
   added here, but the tick hook is called from an interrupt context, so
   code must not attempt to block, and only the interrupt safe FreeRTOS API
   functions can be used (those that end in FromISR()). */
}
/* USER CODE END 3 */

/* USER CODE BEGIN 5 */
__weak void vApplicationMallocFailedHook(void)
{
   /* vApplicationMallocFailedHook() will only be called if
   configUSE_MALLOC_FAILED_HOOK is set to 1 in FreeRTOSConfig.h. It is a hook
   function that will get called if a call to pvPortMalloc() fails.
   pvPortMalloc() is called internally by the kernel whenever a task, queue,
   timer or semaphore is created. It is also called by various parts of the
   demo application. If heap_1.c or heap_2.c are used, then the size of the
   heap available to pvPortMalloc() is defined by configTOTAL_HEAP_SIZE in
   FreeRTOSConfig.h, and the xPortGetFreeHeapSize() API function can be used
   to query the size of free heap space that remains (although it does not
   provide information on how the remaining heap might be fragmented). */
}
/* USER CODE END 5 */

/* USER CODE BEGIN GET_IDLE_TASK_MEMORY */
static StaticTask_t xIdleTaskTCBBuffer;
static StackType_t xIdleStack[configMINIMAL_STACK_SIZE];

void vApplicationGetIdleTaskMemory( StaticTask_t **ppxIdleTaskTCBBuffer, StackType_t **ppxIdleTaskStackBuffer, uint32_t *pulIdleTaskStackSize )
{
  *ppxIdleTaskTCBBuffer = &xIdleTaskTCBBuffer;
  *ppxIdleTaskStackBuffer = &xIdleStack[0];
  *pulIdleTaskStackSize = configMINIMAL_STACK_SIZE;
  /* place for user code */
}
/* USER CODE END GET_IDLE_TASK_MEMORY */

/************************ (C) COPYRIGHT STMicroelectronics *****END OF FILE****/
